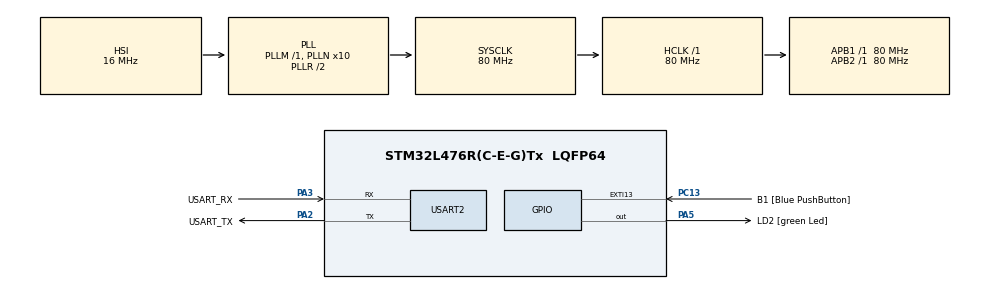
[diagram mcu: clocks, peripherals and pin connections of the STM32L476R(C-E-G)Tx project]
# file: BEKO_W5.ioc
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Mcu.Family=STM32L4
Mcu.Name=STM32L476R(C-E-G)Tx
Mcu.Package=LQFP64
NVIC.PriorityGroup=NVIC_PRIORITYGROUP_4
PA13\ (JTMS-SWDIO).GPIO_Label=TMS
PA13\ (JTMS-SWDIO).Mode=Serial_Wire
PA13\ (JTMS-SWDIO).Signal=SYS_JTMS-SWDIO
PA14\ (JTCK-SWCLK).GPIO_Label=TCK
PA14\ (JTCK-SWCLK).Mode=Serial_Wire
PA14\ (JTCK-SWCLK).Signal=SYS_JTCK-SWCLK
PA2.GPIO_Label=USART_TX
PA2.GPIO_Mode=GPIO_MODE_AF_PP
PA2.GPIO_PuPd=GPIO_NOPULL
PA2.GPIO_Speed=GPIO_SPEED_FREQ_VERY_HIGH
PA2.Mode=Asynchronous
PA2.Signal=USART2_TX
PA3.GPIO_Label=USART_RX
PA3.GPIO_Mode=GPIO_MODE_AF_PP
PA3.GPIO_PuPd=GPIO_NOPULL
PA3.GPIO_Speed=GPIO_SPEED_FREQ_VERY_HIGH
PA3.Mode=Asynchronous
PA3.Signal=USART2_RX
PA5.GPIO_Label=LD2 [green Led]
PA5.GPIO_ModeDefaultOutputPP=GPIO_MODE_OUTPUT_PP
PA5.GPIO_PuPd=GPIO_NOPULL
PA5.GPIO_Speed=GPIO_SPEED_FREQ_LOW
PA5.Signal=GPIO_Output
PB3\ (JTDO-TRACESWO).GPIO_Label=SWO
PB3\ (JTDO-TRACESWO).Signal=SYS_JTDO-SWO
PC13.GPIO_Label=B1 [Blue PushButton]
PC13.GPIO_ModeDefaultEXTI=GPIO_MODE_IT_FALLING
PC13.GPIO_PuPd=GPIO_NOPULL
PC13.Signal=GPXTI13
PC14-OSC32_IN\ (PC14).Mode=LSE-External-Oscillator
PC14-OSC32_IN\ (PC14).Signal=RCC_OSC32_IN
PC15-OSC32_OUT\ (PC15).Mode=LSE-External-Oscillator
PC15-OSC32_OUT\ (PC15).Signal=RCC_OSC32_OUT
PH0-OSC_IN\ (PH0).Signal=RCC_OSC_IN
PH1-OSC_OUT\ (PH1).Signal=RCC_OSC_OUT
ProjectManager.HeapSize=0x200
ProjectManager.StackSize=0x400
ProjectManager.TargetToolchain=STM32CubeIDE
RCC.ADCFreq_Value=64000000
RCC.AHBFreq_Value=80000000
RCC.APB1Freq_Value=80000000
RCC.APB1TimFreq_Value=80000000
RCC.APB2Freq_Value=80000000
RCC.APB2TimFreq_Value=80000000
RCC.CortexFreq_Value=80000000
RCC.HCLKFreq_Value=80000000
RCC.HSE_VALUE=8000000
RCC.HSI_VALUE=16000000
RCC.MSI_VALUE=4000000
RCC.PLLN=10
RCC.PLLSourceVirtual=RCC_PLLSOURCE_HSI
RCC.PREFETCH_ENABLE=1
RCC.SYSCLKFreq_VALUE=80000000
RCC.SYSCLKSource=RCC_SYSCLKSOURCE_PLLCLK
RCC.USBFreq_Value=64000000
RCC.VCOOutputFreq_Value=160000000
USART2.VirtualMode-Asynchronous=VM_ASYNC
VP_CRC_VS_CRC.Mode=CRC_Activate
board=NUCLEO-L476RG

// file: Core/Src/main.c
/* USER CODE BEGIN Header */
/**
  ******************************************************************************
  * @file           : main.c
  * @brief          : Main program body
  ******************************************************************************
  * @attention
  *
  * Copyright (c) 2024 STMicroelectronics.
  * All rights reserved.
  *
  * This software is licensed under terms that can be found in the LICENSE file
  * in the root directory of this software component.
  * If no LICENSE file comes with this software, it is provided AS-IS.
  *
  ******************************************************************************
  */
/* USER CODE END Header */
#include "main.h"

/* USER CODE BEGIN Includes */
#include <stdio.h>
#include <stdint.h>
#include <string.h>
#include "cmox_init.h"
#include "cmox_low_level.h"
#include "cmox_crypto.h"

/* USER CODE END Includes */

CRC_HandleTypeDef hcrc;

UART_HandleTypeDef huart2;

void SystemClock_Config(void);
static void MX_GPIO_Init(void);
static void MX_USART2_UART_Init(void);
static void MX_CRC_Init(void);

/* USER CODE BEGIN 0 */
int __io_putchar(int ch)
{
    HAL_UART_Transmit(&huart2, (uint8_t*)&ch, 1, HAL_MAX_DELAY);
    return 1;
}

/* USER CODE END 0 */

int main(void)
{

  /* MCU Configuration--------------------------------------------------------*/

  /* Reset of all peripherals, Initializes the Flash interface and the Systick. */
  HAL_Init();

  /* Configure the system clock */
  SystemClock_Config();

  /* Initialize all configured peripherals */
  MX_GPIO_Init();
  MX_USART2_UART_Init();
  MX_CRC_Init();
  /* USER CODE BEGIN 2 */

  const uint8_t secret_key[] =
  {
    0x2b, 0x7e, 0x15, 0x16, 0x28, 0xae, 0xd2, 0xa6, 0xab, 0xf7, 0x15, 0x88, 0x09, 0xcf, 0x4f, 0x3c
  };
  const uint8_t iv[] =
  {
    0x00, 0x01, 0x02, 0x03, 0x04, 0x05, 0x06, 0x07, 0x08, 0x09, 0x0a, 0x0b, 0x0c, 0x0d, 0x0e, 0x0f
  };
  const uint8_t message[] =
  {
    0x62, 0x65, 0x6b, 0x6f, 0x2e, 0x40, 0x9f, 0x96, 0xe9, 0x3d, 0x7e, 0x11, 0x73, 0x93, 0x17, 0x2a,
    0xae, 0x2d, 0x8a, 0x57, 0x1e, 0x03, 0xac, 0x9c, 0x9e, 0xb7, 0x6f, 0xac, 0x45, 0xaf, 0x8e, 0x51,
    0x30, 0xc8, 0x1c, 0x46, 0xa3, 0x5c, 0xe4, 0x11, 0xe5, 0xfb, 0xc1, 0x19, 0x1a, 0x0a, 0x52, 0xef,
    0xf6, 0x9f, 0x24, 0x45, 0xdf, 0x4f, 0x9b, 0x17, 0xad, 0x2b, 0x41, 0x7b, 0xe6, 0x6c, 0x37, 0x10
  };

  const uint8_t hash_key[] =
  {
    0x00, 0x01, 0x02, 0x03, 0x04, 0x05, 0x06, 0x07, 0x08, 0x09, 0x0A, 0x0B, 0x0C, 0x0D, 0x0E, 0x0F
  };

  /* --------------------------- ENCRYPT THE MESSAGE -------------------------- */
  uint8_t ciphertext[100];
  size_t ciphertext_size;

  cmox_cipher_retval_t retval = cmox_cipher_encrypt(CMOX_AES_CBC_ENC_ALGO,
		  	  	  	  	  	  	message,
													  sizeof(message),
													  secret_key,
													  sizeof(secret_key),
													  iv,
													  sizeof(iv),
													  ciphertext,
													  &ciphertext_size);

  if (retval != CMOX_CIPHER_SUCCESS)
  {
	  Error_Handler();
  }

  /* ----------------------------- FORMAT PAYLOAD ----------------------------- */
  uint8_t payload[200];
  memcpy(payload, iv, sizeof(iv));
  memcpy(payload + sizeof(iv), ciphertext, ciphertext_size);

  /* ------------- CONCATENATE HASH KEY WITH THE ENCRYPTED PAYLOAD ------------ */
  uint8_t buffer[220];
  memcpy(buffer, hash_key, sizeof(hash_key));
  memcpy(buffer + sizeof(hash_key), payload, sizeof(iv) + ciphertext_size);

  /* ------------------------------ COMPUTE HASH ------------------------------ */
  uint8_t computed_hash[CMOX_SHA256_SIZE];
  size_t hash_size;

  retval = cmox_hash_compute(CMOX_SHA256_ALGO,
	  	  buffer,
		    sizeof(hash_key) + sizeof(iv) + ciphertext_size,
		    computed_hash,
		    CMOX_SHA256_SIZE,
		    &hash_size);

  if (retval != CMOX_HASH_SUCCESS)
    Error_Handler();

  /* ------------------------ SEND THE ENCYPTED PAYLOAD ----------------------- */
  for (int i = 0; i < sizeof(iv) + ciphertext_size; i++)
	  printf("%02x", payload[i]);

  printf("\r\n");

  /* ------------------- SEND HASH OF THE ENCRYPTED PAYLOAD ------------------- */
  for (int i = 0; i < hash_size; i++)
    printf("%02x", computed_hash[i]);

  printf("\r\n");

  /* USER CODE END 2 */

  /* Infinite loop */
  while (1)
  {

  }
}

void SystemClock_Config(void)
{
  RCC_OscInitTypeDef RCC_OscInitStruct = {0};
  RCC_ClkInitTypeDef RCC_ClkInitStruct = {0};

  /** Configure the main internal regulator output voltage
  */
  if (HAL_PWREx_ControlVoltageScaling(PWR_REGULATOR_VOLTAGE_SCALE1) != HAL_OK)
  {
    Error_Handler();
  }

  /** Initializes the RCC Oscillators according to the specified parameters
  * in the RCC_OscInitTypeDef structure.
  */
  RCC_OscInitStruct.OscillatorType = RCC_OSCILLATORTYPE_HSI;
  RCC_OscInitStruct.HSIState = RCC_HSI_ON;
  RCC_OscInitStruct.HSICalibrationValue = RCC_HSICALIBRATION_DEFAULT;
  RCC_OscInitStruct.PLL.PLLState = RCC_PLL_ON;
  RCC_OscInitStruct.PLL.PLLSource = RCC_PLLSOURCE_HSI;
  RCC_OscInitStruct.PLL.PLLM = 1;
  RCC_OscInitStruct.PLL.PLLN = 10;
  RCC_OscInitStruct.PLL.PLLP = RCC_PLLP_DIV7;
  RCC_OscInitStruct.PLL.PLLQ = RCC_PLLQ_DIV2;
  RCC_OscInitStruct.PLL.PLLR = RCC_PLLR_DIV2;
  if (HAL_RCC_OscConfig(&RCC_OscInitStruct) != HAL_OK)
  {
    Error_Handler();
  }

  /** Initializes the CPU, AHB and APB buses clocks
  */
  RCC_ClkInitStruct.ClockType = RCC_CLOCKTYPE_HCLK|RCC_CLOCKTYPE_SYSCLK
                              |RCC_CLOCKTYPE_PCLK1|RCC_CLOCKTYPE_PCLK2;
  RCC_ClkInitStruct.SYSCLKSource = RCC_SYSCLKSOURCE_PLLCLK;
  RCC_ClkInitStruct.AHBCLKDivider = RCC_SYSCLK_DIV1;
  RCC_ClkInitStruct.APB1CLKDivider = RCC_HCLK_DIV1;
  RCC_ClkInitStruct.APB2CLKDivider = RCC_HCLK_DIV1;

  if (HAL_RCC_ClockConfig(&RCC_ClkInitStruct, FLASH_LATENCY_4) != HAL_OK)
  {
    Error_Handler();
  }
}

static void MX_CRC_Init(void)
{

  hcrc.Instance = CRC;
  hcrc.Init.DefaultPolynomialUse = DEFAULT_POLYNOMIAL_ENABLE;
  hcrc.Init.DefaultInitValueUse = DEFAULT_INIT_VALUE_ENABLE;
  hcrc.Init.InputDataInversionMode = CRC_INPUTDATA_INVERSION_NONE;
  hcrc.Init.OutputDataInversionMode = CRC_OUTPUTDATA_INVERSION_DISABLE;
  hcrc.InputDataFormat = CRC_INPUTDATA_FORMAT_BYTES;
  if (HAL_CRC_Init(&hcrc) != HAL_OK)
  {
    Error_Handler();
  }

}

static void MX_USART2_UART_Init(void)
{

  huart2.Instance = USART2;
  huart2.Init.BaudRate = 115200;
  huart2.Init.WordLength = UART_WORDLENGTH_8B;
  huart2.Init.StopBits = UART_STOPBITS_1;
  huart2.Init.Parity = UART_PARITY_NONE;
  huart2.Init.Mode = UART_MODE_TX_RX;
  huart2.Init.HwFlowCtl = UART_HWCONTROL_NONE;
  huart2.Init.OverSampling = UART_OVERSAMPLING_16;
  huart2.Init.OneBitSampling = UART_ONE_BIT_SAMPLE_DISABLE;
  huart2.AdvancedInit.AdvFeatureInit = UART_ADVFEATURE_NO_INIT;
  if (HAL_UART_Init(&huart2) != HAL_OK)
  {
    Error_Handler();
  }

}

static void MX_GPIO_Init(void)
{
  GPIO_InitTypeDef GPIO_InitStruct = {0};

  /* GPIO Ports Clock Enable */
  __HAL_RCC_GPIOC_CLK_ENABLE();
  __HAL_RCC_GPIOH_CLK_ENABLE();
  __HAL_RCC_GPIOA_CLK_ENABLE();
  __HAL_RCC_GPIOB_CLK_ENABLE();

  /*Configure GPIO pin Output Level */
  HAL_GPIO_WritePin(LD2_GPIO_Port, LD2_Pin, GPIO_PIN_RESET);

  /*Configure GPIO pin : B1_Pin */
  GPIO_InitStruct.Pin = B1_Pin;
  GPIO_InitStruct.Mode = GPIO_MODE_IT_FALLING;
  GPIO_InitStruct.Pull = GPIO_NOPULL;
  HAL_GPIO_Init(B1_GPIO_Port, &GPIO_InitStruct);

  /*Configure GPIO pin : LD2_Pin */
  GPIO_InitStruct.Pin = LD2_Pin;
  GPIO_InitStruct.Mode = GPIO_MODE_OUTPUT_PP;
  GPIO_InitStruct.Pull = GPIO_NOPULL;
  GPIO_InitStruct.Speed = GPIO_SPEED_FREQ_LOW;
  HAL_GPIO_Init(LD2_GPIO_Port, &GPIO_InitStruct);

}

void Error_Handler(void)
{
  __disable_irq();
  while (1)
  {
  }
}
